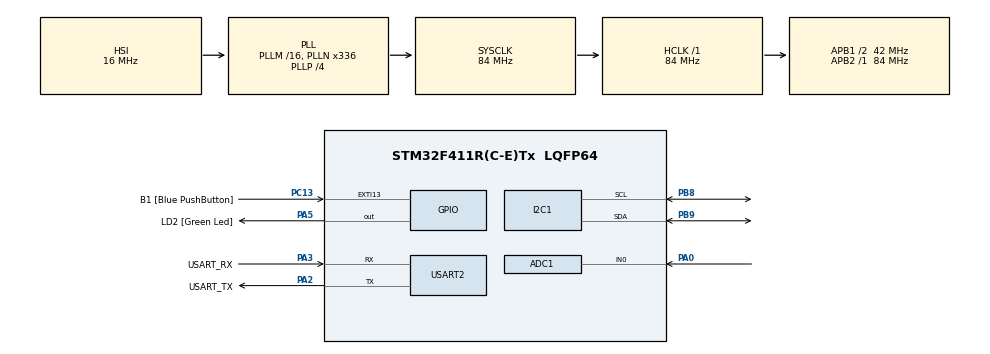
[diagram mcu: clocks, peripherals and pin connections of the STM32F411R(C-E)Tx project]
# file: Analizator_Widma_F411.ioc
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Mcu.Family=STM32F4
Dma.I2C1_TX.0.Instance=DMA1_Stream1
RCC.CortexFreq_Value=84000000
Dma.ADC1.1.MemDataAlignment=DMA_MDATAALIGN_HALFWORD
NVIC.I2C1_EV_IRQn=true\:0\:0\:false\:true\:true\:1\:true\:true
Dma.I2C1_TX.0.PeriphDataAlignment=DMA_PDATAALIGN_BYTE
Dma.I2C1_TX.0.Direction=DMA_MEMORY_TO_PERIPH
PA14.GPIO_Label=TCK
RCC.SYSCLKSource=RCC_SYSCLKSOURCE_PLLCLK
ProjectManager.StackSize=0x400
NVIC.ADC_IRQn=true\:0\:0\:false\:true\:true\:3\:true\:true
PH0\ -\ OSC_IN.Signal=RCC_OSC_IN
Dma.ADC1.1.Instance=DMA2_Stream0
RCC.HCLKFreq_Value=84000000
RCC.APB2TimFreq_Value=84000000
Dma.ADC1.1.PeriphDataAlignment=DMA_PDATAALIGN_HALFWORD
Dma.I2C1_TX.0.Priority=DMA_PRIORITY_LOW
NVIC.DMA2_Stream0_IRQn=true\:0\:0\:false\:false\:true\:false\:true
RCC.AHBFreq_Value=84000000
ADC1.Channel-0\#ChannelRegularConversion=ADC_CHANNEL_0
RCC.HSE_VALUE=8000000
PC13-ANTI_TAMP.Signal=GPXTI13
PC14-OSC32_IN.Mode=LSE-External-Oscillator
PA14.Mode=Serial_Wire
Dma.I2C1_TX.0.MemInc=DMA_MINC_ENABLE
Dma.ADC1.1.Priority=DMA_PRIORITY_LOW
Dma.ADC1.1.Mode=DMA_CIRCULAR
SH.ADCx_IN0.0=ADC1_IN0,IN0
ADC1.SamplingTime-0\#ChannelRegularConversion=ADC_SAMPLETIME_3CYCLES
RCC.FLatency-AdvancedSettings=FLASH_LATENCY_2
Dma.I2C1_TX.0.PeriphInc=DMA_PINC_DISABLE
Mcu.Package=LQFP64
PB9.Signal=I2C1_SDA
TIM2.Prescaler=2
USART2.VirtualMode=VM_ASYNC
Dma.ADC1.1.Direction=DMA_PERIPH_TO_MEMORY
PA2.GPIO_Label=USART_TX
Dma.ADC1.1.MemInc=DMA_MINC_ENABLE
Dma.I2C1_TX.0.MemDataAlignment=DMA_MDATAALIGN_BYTE
TIM2.TIM_MasterOutputTrigger=TIM_TRGO_UPDATE
Dma.Request1=ADC1
RCC.APB1TimFreq_Value=84000000
Dma.I2C1_TX.0.Mode=DMA_NORMAL
Dma.Request0=I2C1_TX
PA3.Signal=USART2_RX
PB3.GPIO_Label=SWO
PC15-OSC32_OUT.Mode=LSE-External-Oscillator
ADC1.Rank-0\#ChannelRegularConversion=1
PC13-ANTI_TAMP.GPIO_Label=B1 [Blue PushButton]
PH1\ -\ OSC_OUT.Mode=HSE-External-Clock-Source
NVIC.DMA1_Stream1_IRQn=true\:0\:0\:false\:true\:true\:2\:false\:true
RCC.APB1CLKDivider=RCC_HCLK_DIV2
PC14-OSC32_IN.Signal=RCC_OSC32_IN
PA0-WKUP.Signal=ADCx_IN0
PA13.Signal=SYS_JTMS-SWDIO
PA3.Mode=Asynchronous
PH0\ -\ OSC_IN.Mode=HSE-External-Clock-Source
ProjectManager.TargetToolchain=STM32CubeIDE
I2C1.I2C_Mode=I2C_Fast
PB9.Mode=I2C
PC15-OSC32_OUT.Signal=RCC_OSC32_OUT
PA5.Signal=GPIO_Output
PH1\ -\ OSC_OUT.Signal=RCC_OSC_OUT
board=NUCLEO-F411RE
RCC.VCOOutputFreq_Value=336000000
Dma.ADC1.1.FIFOMode=DMA_FIFOMODE_DISABLE
RCC.APB2Freq_Value=84000000
VP_TIM2_VS_ClockSourceINT.Mode=Internal
Dma.ADC1.1.PeriphInc=DMA_PINC_DISABLE
ADC1.DMAContinuousRequests=ENABLE
TIM2.Period=634
PA13.Mode=Serial_Wire
Mcu.Name=STM32F411R(C-E)Tx
PA13.GPIO_Label=TMS
PA2.Signal=USART2_TX
ADC1.ExternalTrigConv=ADC_EXTERNALTRIGCONV_T2_TRGO
RCC.48MHZClocksFreq_Value=84000000
PB3.Signal=SYS_JTDO-SWO
RCC.SYSCLKFreq_VALUE=84000000
ADC1.master=1
PA5.GPIO_Label=LD2 [Green Led]
PC13-ANTI_TAMP.GPIO_ModeDefaultEXTI=GPIO_MODE_IT_FALLING
PA14.Signal=SYS_JTCK-SWCLK
ProjectManager.HeapSize=0x200
RCC.HSI_VALUE=16000000
RCC.PLLP=RCC_PLLP_DIV4
NVIC.PriorityGroup=NVIC_PRIORITYGROUP_0
ADC1.NbrOfConversionFlag=1
Dma.I2C1_TX.0.FIFOMode=DMA_FIFOMODE_DISABLE
PB8.Mode=I2C
RCC.PLLN=336
PA2.Mode=Asynchronous
PB8.Signal=I2C1_SCL
RCC.APB1Freq_Value=42000000
PA3.GPIO_Label=USART_RX

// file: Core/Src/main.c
/* USER CODE BEGIN Header */
/**
  ******************************************************************************
  * @file           : main.c
  * @brief          : Main program body
  ******************************************************************************
  * @attention
  *
  * <h2><center>&copy; Copyright (c) 2021 STMicroelectronics.
  * All rights reserved.</center></h2>
  *
  * This software component is licensed by ST under BSD 3-Clause license,
  * the "License"; You may not use this file except in compliance with the
  * License. You may obtain a copy of the License at:
  *                        opensource.org/licenses/BSD-3-Clause
  *
  ******************************************************************************
  */
/* USER CODE END Header */
#include "main.h"
#include "adc.h"
#include "dma.h"
#include "i2c.h"
#include "tim.h"
#include "usart.h"
#include "gpio.h"

/* USER CODE BEGIN Includes */
#include "SSD1306_OLED.h"
#include "GFX_BW.h"
#include "fonts/fonts.h"
#include "my_face.h"
#include "bmp280.h"
#include "stdio.h"
#include "arm_math.h"
/* USER CODE END Includes */

/* USER CODE BEGIN PTD */
#define FFT_SAMPLES 1024
/* USER CODE END PTD */

/* USER CODE BEGIN PD */
#define BMP280_ADDRESS 0x76
/* USER CODE END PD */

/* USER CODE BEGIN PV */
BMP280_t Bmp280; // struktura czujnika

uint32_t SoftTimerBmp;
uint32_t SoftTimerOled;

float Temp, Pressure; // temperatura, cisnienie

char Message[32]; // bufor na wiadomosc

uint16_t AdcMicrophone[FFT_SAMPLES];
float FFTInBuffer[FFT_SAMPLES]; // bufor we FFT
float FFTOutBuffer[FFT_SAMPLES]; // bufor wy FFT
arm_rfft_fast_instance_f32 FFTHandler; // struktura uchwytu do FFT
volatile uint8_t SamplesReady; // flaga - czy próbki są gotowe do liczenia FFT (np 1024 probki)
uint8_t OutFreqArray[10]; // tablica wyjsciowa na 10 prazkow FFT

/* USER CODE END PV */

void SystemClock_Config(void);
static void MX_NVIC_Init(void);
/* USER CODE BEGIN PFP */
void CalculateFFT(void);
/* USER CODE END PFP */

int main(void)
{

  /* MCU Configuration--------------------------------------------------------*/

  /* Reset of all peripherals, Initializes the Flash interface and the Systick. */
  HAL_Init();

  /* Configure the system clock */
  SystemClock_Config();

  /* Initialize all configured peripherals */
  MX_GPIO_Init();
  MX_DMA_Init();
  MX_USART2_UART_Init();
  MX_I2C1_Init();
  MX_ADC1_Init();
  MX_TIM2_Init();

  /* Initialize interrupts */
  MX_NVIC_Init();
  /* USER CODE BEGIN 2 */
  BMP280_Init(&Bmp280, &hi2c1, BMP280_ADDRESS); // inicjacja struktury czujnika

  SSD1306_Init(&hi2c1);

  GFX_SetFont(font_8x5);

  SSD1306_Clear(BLACK);

  SSD1306_Display();

  HAL_TIM_Base_Start(&htim2); // startuje TIM2 (dla kanaLu Regular)
  HAL_ADC_Start_DMA(&hadc1, (uint32_t*)AdcMicrophone, FFT_SAMPLES); // start ADC w trybie Regular - zbierze 1024 probki

  arm_rfft_fast_init_f32(&FFTHandler, FFT_SAMPLES); // inicjacja FFT w strukturze

  SoftTimerBmp = HAL_GetTick();
  SoftTimerOled = HAL_GetTick();

  /* USER CODE END 2 */

  /* Infinite loop */
  /* USER CODE BEGIN WHILE */
  while (1)
  {
	  // FFT - samo obliczenie
	  if (SamplesReady == 1) // czy gotowy jest zestaw probek
	  {
		  SamplesReady = 0; // opuszczenie flagi

		  // przeniesienie probek z ADC do bufora wej FFT
		  for (uint32_t i = 0; i < FFT_SAMPLES; i++)
		  {
			  FFTInBuffer[i] = (float)AdcMicrophone[i];
		  }

		  CalculateFFT();// przeliczenie FFT
	  }

	  // obsluga czujnika
	  if (HAL_GetTick() - SoftTimerBmp > 10) // po 10 ms
	  {
		  SoftTimerBmp = HAL_GetTick(); // zmiana punktu odniesienia; przekarmienie timera

		  if (Bmp280.bmp_i2c->State == HAL_I2C_STATE_READY) // czy I2C nie jest zajete
		  {
			  BMP280_ReadPressureandTemperature(&Bmp280, &Pressure, &Temp); // odczyt pomiarow
		  }
	  }

	  // obsluga ekranu
	  if (HAL_GetTick() - SoftTimerOled > 100) // po 100 ms
	  {
		  SoftTimerOled = HAL_GetTick(); // zmiana punktu odniesienia; przekarmienie timera

		  SSD1306_Clear(BLACK);

		  // przekazanie cisnienia do bufora
		  sprintf(Message, "Press: %.2f hPa", Pressure);
		  GFX_DrawString(0,0, Message, WHITE, 0);

		  // przekazanie temperatury do bufora
		  sprintf(Message, "Temp: %.2f *C", Temp);
		  GFX_DrawString(0,10, Message, WHITE, 0);

		  // przekazanie FFT do bufora
		  for (uint8_t i = 0; i < 10; i++) // 10 prazkow FFT
		  {
			  // Wskaznik po ekranie idzie od lewego gornego rogu, stad obliczenia:
			  // slupki zaczynaja sie co 11 pikseli, na wysokosci 64-OutFreqArray[i],
			  // maja szerokosc 10, wysokosc OutFreqArray[i]
			  GFX_DrawFillRectangle(10+(i*11), 64-OutFreqArray[i], 10, OutFreqArray[i], WHITE);
		  }

		  SSD1306_Display(); // wyswietlenie
	  }
    /* USER CODE END WHILE */

  }
}

void SystemClock_Config(void)
{
  RCC_OscInitTypeDef RCC_OscInitStruct = {0};
  RCC_ClkInitTypeDef RCC_ClkInitStruct = {0};

  /** Configure the main internal regulator output voltage
  */
  __HAL_RCC_PWR_CLK_ENABLE();
  __HAL_PWR_VOLTAGESCALING_CONFIG(PWR_REGULATOR_VOLTAGE_SCALE1);
  /** Initializes the RCC Oscillators according to the specified parameters
  * in the RCC_OscInitTypeDef structure.
  */
  RCC_OscInitStruct.OscillatorType = RCC_OSCILLATORTYPE_HSI;
  RCC_OscInitStruct.HSIState = RCC_HSI_ON;
  RCC_OscInitStruct.HSICalibrationValue = RCC_HSICALIBRATION_DEFAULT;
  RCC_OscInitStruct.PLL.PLLState = RCC_PLL_ON;
  RCC_OscInitStruct.PLL.PLLSource = RCC_PLLSOURCE_HSI;
  RCC_OscInitStruct.PLL.PLLM = 16;
  RCC_OscInitStruct.PLL.PLLN = 336;
  RCC_OscInitStruct.PLL.PLLP = RCC_PLLP_DIV4;
  RCC_OscInitStruct.PLL.PLLQ = 4;
  if (HAL_RCC_OscConfig(&RCC_OscInitStruct) != HAL_OK)
  {
    Error_Handler();
  }
  /** Initializes the CPU, AHB and APB buses clocks
  */
  RCC_ClkInitStruct.ClockType = RCC_CLOCKTYPE_HCLK|RCC_CLOCKTYPE_SYSCLK
                              |RCC_CLOCKTYPE_PCLK1|RCC_CLOCKTYPE_PCLK2;
  RCC_ClkInitStruct.SYSCLKSource = RCC_SYSCLKSOURCE_PLLCLK;
  RCC_ClkInitStruct.AHBCLKDivider = RCC_SYSCLK_DIV1;
  RCC_ClkInitStruct.APB1CLKDivider = RCC_HCLK_DIV2;
  RCC_ClkInitStruct.APB2CLKDivider = RCC_HCLK_DIV1;

  if (HAL_RCC_ClockConfig(&RCC_ClkInitStruct, FLASH_LATENCY_2) != HAL_OK)
  {
    Error_Handler();
  }
}

/**
  * @brief NVIC Configuration.
  * @retval None
  */
static void MX_NVIC_Init(void)
{
  /* I2C1_EV_IRQn interrupt configuration */
  HAL_NVIC_SetPriority(I2C1_EV_IRQn, 0, 0);
  HAL_NVIC_EnableIRQ(I2C1_EV_IRQn);
  /* DMA1_Stream1_IRQn interrupt configuration */
  HAL_NVIC_SetPriority(DMA1_Stream1_IRQn, 0, 0);
  HAL_NVIC_EnableIRQ(DMA1_Stream1_IRQn);
  /* ADC_IRQn interrupt configuration */
  HAL_NVIC_SetPriority(ADC_IRQn, 0, 0);
  HAL_NVIC_EnableIRQ(ADC_IRQn);
}

/* USER CODE BEGIN 4 */

// callback przerwania z ADC
void HAL_ADC_ConvCpltCallback(ADC_HandleTypeDef* hadc)
{
	if(hadc->Instance == ADC1)
	{
		SamplesReady = 1; // ustawia flage
	}
}

// funckja liczaca modul liczby zespolonej
float complexABS(float real, float compl)
{
	return sqrtf(real*real+compl*compl);
}

// funkcja liczaca FFT
void CalculateFFT(void)
{
	// wykonuje FFT zwracajac liczby zespolone
	arm_rfft_fast_f32(&FFTHandler, FFTInBuffer, FFTOutBuffer, 0);

	int Freqs[FFT_SAMPLES]; // jest tyle przedzialow czestotliwosci co probek
	int FreqPoint = 0; // zmienna pomocnicza
	int Offset = 40; // offset do eliminacji (uciecia) domniemanych szumow podczas ciszy

	// liczenie modulu i przejscie na miare decybelowa
	for (int i = 0; i < FFT_SAMPLES; i = i+2)
	{
		// wyliczenie prazka i uciecie domniemanego szumu (-Offset)
		Freqs[FreqPoint] = (int)(20*log10f(complexABS(FFTOutBuffer[i], FFTOutBuffer[i+1]))) - Offset;

		if (Freqs[FreqPoint] < 0) // jesli slupek jest ujemny - domniemany szum wiekszy od sygnalu
		{
			Freqs[FreqPoint] = 0;
		}
		FreqPoint++;
	}

	// przerzucenie wybranych prazkow FFT do tablicy
	OutFreqArray[0] = (uint8_t)Freqs[1]; // 22 Hz
	OutFreqArray[1] = (uint8_t)Freqs[2]; // 63 Hz
	OutFreqArray[2] = (uint8_t)Freqs[3]; // 125 Hz
	OutFreqArray[3] = (uint8_t)Freqs[6]; // 250 Hz
	OutFreqArray[4] = (uint8_t)Freqs[12]; // 500 Hz
	OutFreqArray[5] = (uint8_t)Freqs[23]; // 1000 Hz
	OutFreqArray[6] = (uint8_t)Freqs[51]; // 2200 Hz
	OutFreqArray[7] = (uint8_t)Freqs[104]; // 4500 Hz
	OutFreqArray[8] = (uint8_t)Freqs[207]; // 9000 Hz
	OutFreqArray[9] = (uint8_t)Freqs[344]; // 15000 Hz

}

/* USER CODE END 4 */

void Error_Handler(void)
{
  __disable_irq();
  while (1)
  {
  }
}

/************************ (C) COPYRIGHT STMicroelectronics *****END OF FILE****/
